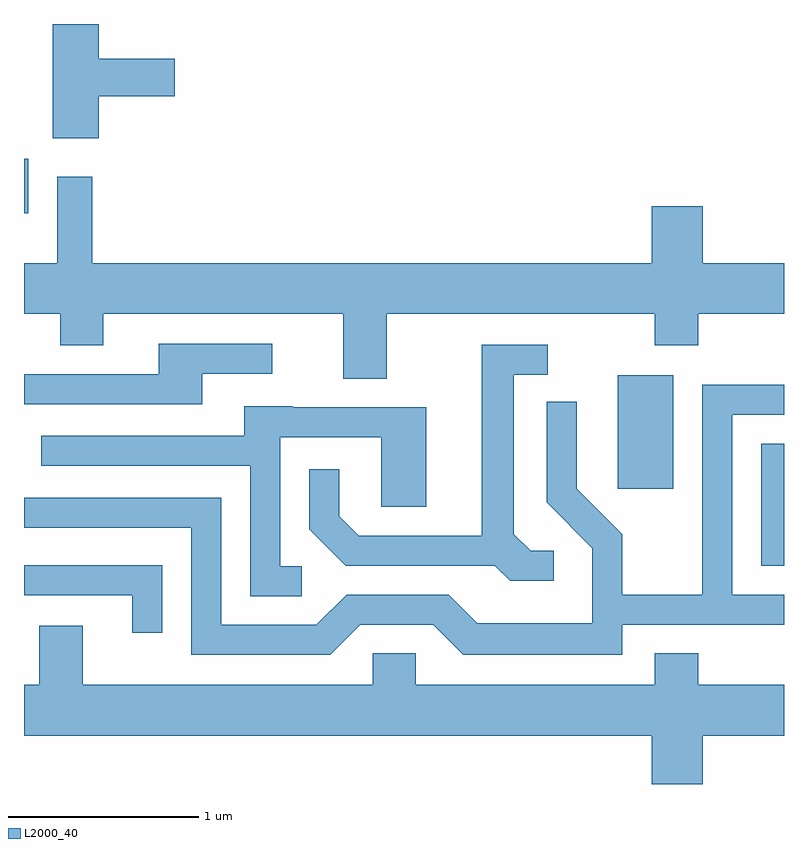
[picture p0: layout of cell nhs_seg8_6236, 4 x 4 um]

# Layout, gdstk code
import gdstk
lib = gdstk.Library(unit=1e-6, precision=1e-09)
def R(c, l, rs):  # rectangles x0, y0, x1, y1
    for r in rs: c.add(gdstk.rectangle(r[:2], r[2:], *l))
def P(c, l, *ps):  # polygons
    for p in ps: c.add(gdstk.Polygon(p, *l))
L2000_40 = (2000, 40)

nhs_seg8_6236 = lib.new_cell('nhs_seg8_6236')
R(nhs_seg8_6236, L2000_40, [(375.491,1879.491,375.611,1880.134), (374.736,1879.896,375.029,1880.494), (371.611,1881.346,371.634,1881.634)])
P(nhs_seg8_6236, L2000_40, [(372.004,1881.961),(372.404,1881.961),(372.404,1882.159),(372.004,1882.159),(372.004,1882.342),(371.761,1882.342),(371.761,1881.741),(372.004,1881.741)],
  [(373.519,1880.816),(374.931,1880.816),(374.931,1880.651),(375.159,1880.651),(375.159,1880.816),(375.611,1880.816),(375.611,1881.084),(375.184,1881.084),(375.184,1881.384),(374.916,1881.384),(374.916,1881.084),(371.969,1881.084),(371.969,1881.539),(371.786,1881.539),(371.786,1881.084),(371.611,1881.084),(371.611,1880.816),(371.801,1880.816),(371.801,1880.651),(372.029,1880.651),(372.029,1880.816),(373.291,1880.816),(373.291,1880.476),(373.519,1880.476)],
  [(372.549,1880.501),(372.918,1880.501),(372.918,1880.659),(372.321,1880.659),(372.321,1880.499),(371.611,1880.499),(371.611,1880.341),(372.549,1880.341)],
  [(374.398,1879.569),(374.277,1879.569),(374.189,1879.657),(374.189,1880.496),(374.368,1880.496),(374.368,1880.654),(374.021,1880.654),(374.021,1879.649),(373.372,1879.649),(373.269,1879.752),(373.269,1879.998),(373.111,1879.998),(373.111,1879.684),(373.304,1879.491),(374.089,1879.491),(374.169,1879.411),(374.398,1879.411)],
  [(373.382,1879.181),(373.764,1879.181),(373.924,1879.021),(374.759,1879.021),(374.759,1879.181),(375.611,1879.181),(375.611,1879.339),(375.339,1879.339),(375.339,1880.286),(375.611,1880.286),(375.611,1880.444),(375.181,1880.444),(375.181,1879.339),(374.759,1879.339),(374.759,1879.657),(374.519,1879.897),(374.519,1880.353),(374.361,1880.353),(374.361,1879.824),(374.601,1879.584),(374.601,1879.189),(373.997,1879.189),(373.847,1879.339),(373.309,1879.339),(373.149,1879.179),(372.649,1879.179),(372.649,1879.849),(371.611,1879.849),(371.611,1879.691),(372.491,1879.691),(372.491,1879.021),(373.222,1879.021)],
  [(373.073,1879.489),(372.959,1879.489),(372.959,1880.166),(373.491,1880.166),(373.491,1879.801),(373.729,1879.801),(373.729,1880.324),(373.025,1880.324),(373.025,1880.329),(372.771,1880.329),(372.771,1880.174),(371.703,1880.174),(371.703,1880.016),(372.801,1880.016),(372.801,1879.331),(373.073,1879.331)],
  [(372.339,1879.494),(371.611,1879.494),(371.611,1879.336),(372.181,1879.336),(372.181,1879.138),(372.339,1879.138)],
  [(375.184,1878.596),(375.611,1878.596),(375.611,1878.864),(375.159,1878.864),(375.159,1879.029),(374.931,1879.029),(374.931,1878.864),(373.674,1878.864),(373.674,1879.029),(373.446,1879.029),(373.446,1878.864),(371.919,1878.864),(371.919,1879.174),(371.691,1879.174),(371.691,1878.864),(371.611,1878.864),(371.611,1878.596),(374.916,1878.596),(374.916,1878.342),(375.184,1878.342)])

lib.write_gds('nhs_seg8_6236.gds')
